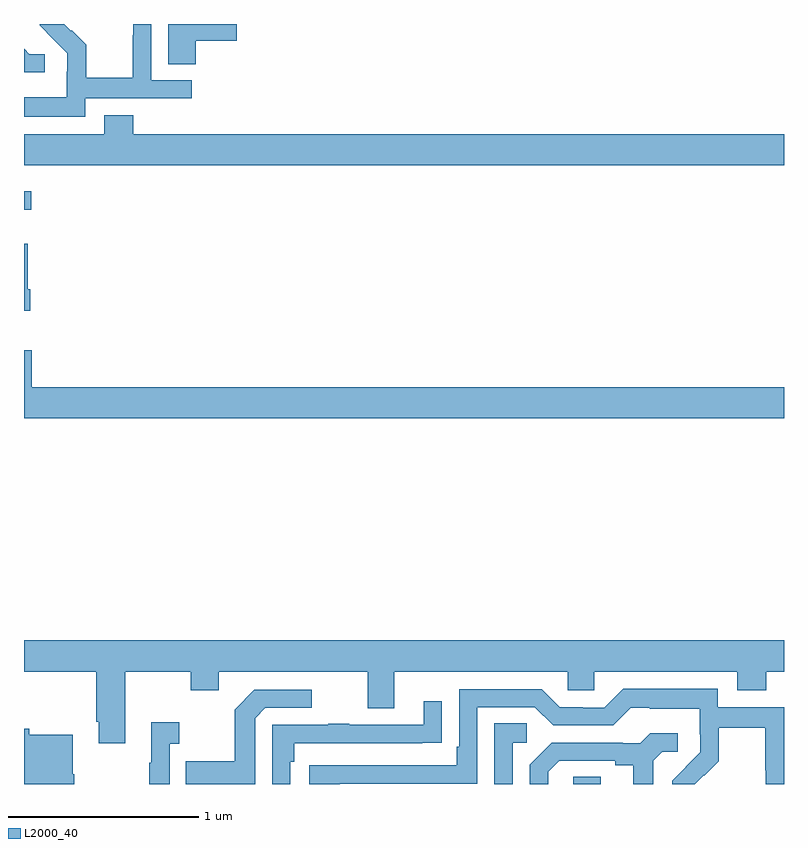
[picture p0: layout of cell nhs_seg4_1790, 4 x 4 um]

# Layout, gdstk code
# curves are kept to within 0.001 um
import gdstk
lib = gdstk.Library(unit=1e-6, precision=1e-09)
def R(c, l, rs):  # rectangles x0, y0, x1, y1
    for r in rs: c.add(gdstk.rectangle(r[:2], r[2:], *l))
def P(c, l, *ps):  # polygons
    for p in ps: c.add(gdstk.Polygon(p, *l))
L2000_40 = (2000, 40)

nhs_seg4_1790 = lib.new_cell('nhs_seg4_1790')
R(nhs_seg4_1790, L2000_40, [(205.89,790.9,206.035,790.937), (203,793.923,203.038,794.02)])
P(nhs_seg4_1790, L2000_40, [(203.903,794.813),(204.121,794.813),(204.121,794.9),(203.759,794.9),(203.759,794.689),(203.903,794.689)],
  [(203.322,794.508),(203.884,794.508),(203.884,794.604),(203.67,794.604),(203.67,794.9),(203.574,794.9),(203.574,794.84),(203.572,794.84),(203.572,794.617),(203.327,794.617),(203.327,794.791),(203.25,794.868),(203.247,794.865),(203.212,794.9),(203.082,794.9),(203.082,794.894),(203.228,794.746),(203.228,794.649),(203.226,794.649),(203.226,794.515),(203,794.515),(203,794.411),(203.322,794.411)],
  [(203.11,794.742),(203.028,794.742),(203,794.77),(203,794.645),(203.11,794.645)],
  [(207,794.32),(203.576,794.32),(203.576,794.419),(203.423,794.419),(203.423,794.32),(203,794.32),(203,794.156),(207,794.156)],
  [(203.033,793.504),(203.02,793.504),(203.02,793.744),(203,793.744),(203,793.392),(203.033,793.392)],
  [(207,792.988),(203.042,792.988),(203.042,793.183),(203,793.183),(203,792.824),(207,792.824)],
  [(203.533,791.492),(203.878,791.492),(203.878,791.393),(204.025,791.393),(204.025,791.492),(204.809,791.492),(204.809,791.298),(204.949,791.298),(204.949,791.492),(205.863,791.492),(205.863,791.394),(206.001,791.394),(206.001,791.492),(206.753,791.492),(206.753,791.393),(206.906,791.393),(206.906,791.492),(207,791.492),(207,791.656),(203,791.656),(203,791.492),(203.381,791.492),(203.381,791.227),(203.393,791.227),(203.393,791.115),(203.533,791.115)],
  [(204.662,790.902),(205.386,790.902),(205.386,791.304),(205.689,791.304),(205.785,791.208),(206.1,791.208),(206.193,791.301),(206.293,791.301),(206.293,791.297),(206.556,791.297),(206.556,791.163),(206.558,791.163),(206.558,791.066),(206.412,790.918),(206.412,790.9),(206.53,790.9),(206.577,790.947),(206.58,790.944),(206.657,791.021),(206.657,791.196),(206.902,791.196),(206.902,790.972),(206.904,790.972),(206.904,790.9),(207,790.9),(207,791.304),(206.652,791.304),(206.652,791.401),(206.155,791.401),(206.055,791.301),(205.94,791.301),(205.94,791.304),(205.821,791.304),(205.725,791.4),(205.29,791.4),(205.29,791.095),(205.277,791.095),(205.277,790.998),(204.501,790.998),(204.501,790.9),(204.662,790.9)],
  [(204.216,791.247),(204.27,791.301),(204.514,791.301),(204.514,791.397),(204.213,791.397),(204.108,791.291),(204.108,791.019),(203.851,791.019),(203.851,790.9),(204.216,790.9)],
  [(204.402,791.018),(204.422,791.018),(204.422,791.115),(205.097,791.115),(205.097,791.116),(205.199,791.116),(205.199,791.335),(205.103,791.335),(205.103,791.211),(204.713,791.211),(204.713,791.216),(204.601,791.216),(204.601,791.211),(204.306,791.211),(204.306,790.9),(204.402,790.9)],
  [(203.766,791.111),(203.818,791.111),(203.818,791.224),(203.669,791.224),(203.669,791.011),(203.658,791.011),(203.658,790.9),(203.766,790.9)],
  [(205.572,791.118),(205.645,791.118),(205.645,791.219),(205.476,791.219),(205.476,790.9),(205.572,790.9)],
  [(203.265,790.951),(203.257,790.951),(203.257,791.158),(203.028,791.158),(203.028,791.191),(203,791.191),(203,790.9),(203.265,790.9)],
  [(205.759,790.965),(205.816,791.022),(206.111,791.022),(206.111,791),(206.207,791),(206.207,790.9),(206.311,790.9),(206.311,791.023),(206.358,791.07),(206.44,791.07),(206.44,791.167),(206.296,791.167),(206.244,791.115),(206.15,791.115),(206.15,791.118),(205.778,791.118),(205.662,791.002),(205.662,790.9),(205.759,790.9)])

lib.write_gds('nhs_seg4_1790.gds')
